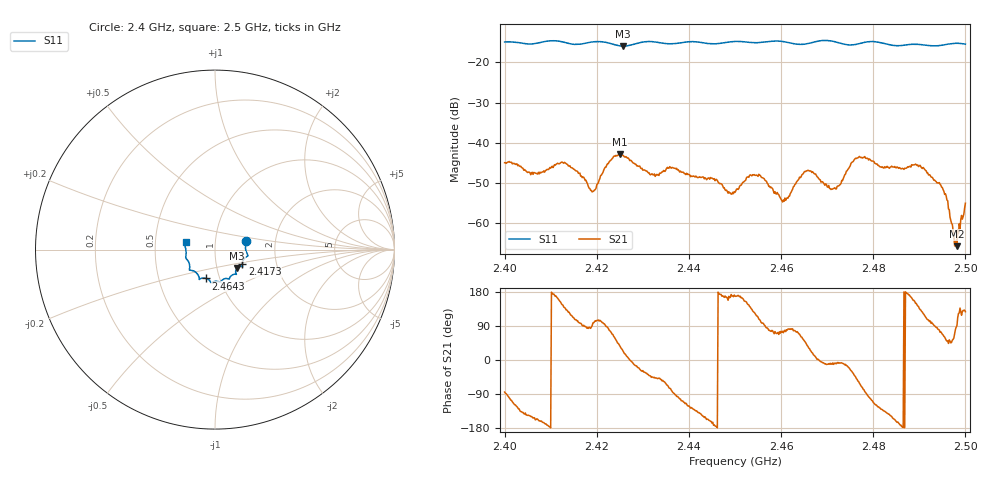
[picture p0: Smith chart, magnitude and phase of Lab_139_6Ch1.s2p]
# Hz S RI R 50
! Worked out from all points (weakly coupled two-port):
!   601 points, 2.4 GHz to 2.5 GHz, reference 50 ohm
!   highest |S21| = -42.98 dB at 2.425 GHz (marker M1); lowest = -65.9 dB at 2.4982 GHz (marker M2)
!   lowest |S11| = -15.9 dB at 2.4257 GHz (marker M3), VSWR 1.38, Z = 62.5 - j13.1 ohm
!   |S11| at or under -10 dB: start of sweep to end of sweep
!   S12 and S22 are empty: the file has one direction only
!   S11 on the Smith chart (normalised r, x): 2.4 GHz: 1.41, +0.14; 2.4173 GHz: 1.34, -0.23; 2.4643 GHz: 0.86, -0.28; 2.5 GHz: 0.72, +0.06
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2.4e9  0.1731 0.0494  0.000524 -0.00558  0 0  0 0
2.406667e9  0.1721 -0.0064  -0.00385 -0.00156  0 0  0 0
2.412833e9  0.1748 -0.04  -0.00422 0.00356  0 0  0 0
2.416667e9  0.153 -0.0745  -0.000339 0.00379  0 0  0 0
2.417333e9  0.1524 -0.0818  7.45e-05 0.00353  0 0  0 0
2.419333e9  0.1536 -0.096  -0.000358 0.00245  0 0  0 0
2.425e9  0.1281 -0.098  0.00563 0.00433  0 0  0 0
2.425667e9  0.1229 -0.1023  0.00633 0.00288  0 0  0 0
2.433333e9  0.1131 -0.137  0.00264 -0.003  0 0  0 0
2.436833e9  0.0885 -0.1476  0.000122 -0.00477  0 0  0 0
2.45e9  0.0295 -0.1808  -0.00234 0.000459  0 0  0 0
2.455e9  0.00198 -0.1769  -0.00148 0.00348  0 0  0 0
2.460667e9  -0.0253 -0.18  0.000414 0.0018  0 0  0 0
2.464333e9  -0.0498 -0.1607  0.00179 0.00325  0 0  0 0
2.466667e9  -0.0759 -0.1599  0.00398 0.00144  0 0  0 0
2.471333e9  -0.0873 -0.1612  0.00261 -0.000537  0 0  0 0
2.4765e9  -0.1218 -0.1176  0.00403 -0.00498  0 0  0 0
2.483333e9  -0.1409 -0.0902  -0.0039 -0.00295  0 0  0 0
2.489667e9  -0.1629 -0.0426  -0.00415 0.0032  0 0  0 0
2.4945e9  -0.163 0.00424  0.000866 0.00289  0 0  0 0
2.498167e9  -0.1706 0.0323  -4.47e-06 0.000508  0 0  0 0
2.5e9  -0.164 0.0424  -0.00106 0.00139  0 0  0 0
